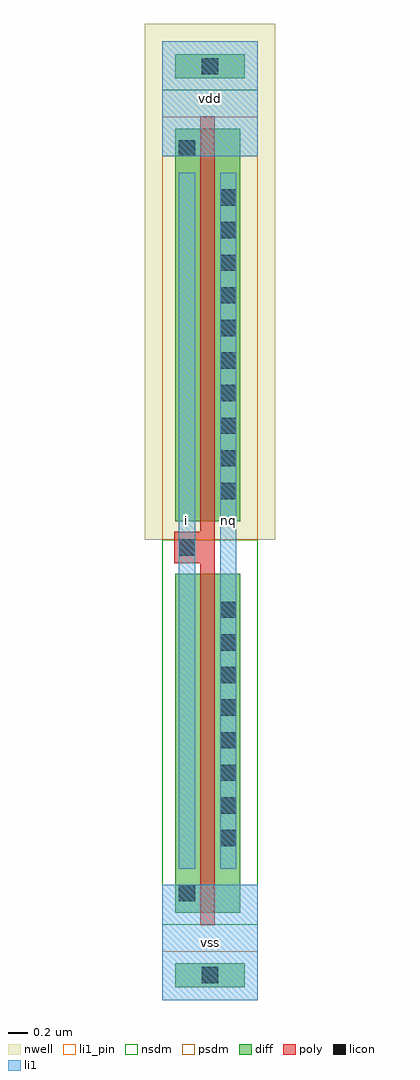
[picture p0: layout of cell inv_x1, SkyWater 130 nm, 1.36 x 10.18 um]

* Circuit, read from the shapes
.subckt inv_x1 i nq vdd vss
XM1 nq i vss VSUBS sky130_fd_pr__nfet_01v8 w=3.535 l=0.15
XM2 nq i vdd n1 sky130_fd_pr__pfet_01v8 w=4.095 l=0.15
.ends

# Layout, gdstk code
import gdstk
lib = gdstk.Library(unit=1e-6, precision=1e-09)
def R(c, l, rs):  # rectangles x0, y0, x1, y1
    for r in rs: c.add(gdstk.rectangle(r[:2], r[2:], *l))
def A(c, l, x, y, w, h, nx, ny, dx, dy):  # array of equal rectangles
    R(c, l, [(x+i*dx, y+j*dy, x+i*dx+w, y+j*dy+h) for i in range(nx) for j in range(ny)])
nwell = (64, 20)
diff = (65, 20)
poly = (66, 20)
licon = (66, 44)
li1_pin = (67, 16)
li1 = (67, 20)
nsdm = (93, 44)
psdm = (94, 20)

inv_x1 = lib.new_cell('inv_x1')
R(inv_x1, nwell, [(-0.18,4.8,1.18,10.18), (-0.045,4.815,0.505,9.27), (-0.045,4.815,0.565,9.27), (-0.03,4.815,0.98,9.27), (0.385,4.815,0.995,9.27), (0.445,4.815,0.995,9.27), (0.385,4.925,0.995,8.755), (-0.045,8.5,0.565,9.27), (-0.045,9.435,1.045,10.045), (0.115,9.435,0.885,10.045)])
R(inv_x1, diff, [(0.135,0.135,0.865,0.385), (0.295,0.135,0.705,0.385), (0.135,0.91,0.385,1.32), (0.135,0.91,0.385,4.445), (0.135,0.91,0.325,4.445), (0.15,0.91,0.8,4.445), (0.565,0.91,0.815,4.445), (0.625,0.91,0.815,4.445), (0.565,1.485,0.815,4.275), (0.135,4.995,0.385,9.09), (0.135,4.995,0.325,9.09), (0.15,4.995,0.8,9.09), (0.565,4.995,0.815,9.09), (0.625,4.995,0.815,9.09), (0.565,5.105,0.815,8.575), (0.135,8.68,0.385,9.09), (0.135,9.615,0.865,9.865), (0.295,9.615,0.705,9.865)])
R(inv_x1, poly, [(0.4,0.78,0.55,4.575), (0.4,0.78,0.55,4.865), (0.125,4.555,0.395,4.885), (0.26,4.555,0.475,4.885), (0.4,4.865,0.55,9.22)])
A(inv_x1, licon, 0.605, 1.605, 0.17, 0.17, 1, 8, 0, 0.34)
A(inv_x1, licon, 0.605, 5.225, 0.17, 0.17, 1, 10, 0, 0.34)
R(inv_x1, licon, [(0.415,0.175,0.585,0.345), (0.175,1.03,0.345,1.2), (0.175,4.635,0.345,4.805), (0.175,8.8,0.345,8.97), (0.415,9.655,0.585,9.825)])
R(inv_x1, li1_pin, [(0,0,1,1.2), (0.175,1.37,0.345,8.63), (0.605,1.37,0.775,8.63), (0,8.8,1,10)])
R(inv_x1, li1, [(0,0,1,1.2), (0.415,0.095,0.585,0.425), (0.095,1.03,0.425,1.2), (0.175,1.37,0.345,8.63), (0.605,1.37,0.775,4.385), (0.605,1.37,0.775,8.63), (0.605,1.525,0.775,4.235), (0.175,4.555,0.345,4.885), (0.605,5.055,0.775,8.63), (0.605,5.145,0.775,8.535), (0,8.8,1,10), (0.095,8.8,0.425,8.97), (0.415,9.575,0.585,9.905)])
R(inv_x1, nsdm, [(0,0.785,1,4.8), (0.01,0.785,0.51,4.57), (0.01,0.785,0.51,1.445), (0.01,0.785,0.45,4.57), (0.025,0.785,0.925,4.57), (0.44,0.785,0.94,4.57), (0.5,0.785,0.94,4.57), (0.33,0.84,0.62,4.515), (0.44,1.36,0.94,4.4), (0,9.49,1,10), (0,9.49,1,9.99), (0.16,9.49,0.84,9.99)])
R(inv_x1, psdm, [(0,0,1,0.51), (0,0.01,1,0.51), (0.16,0.01,0.84,0.51), (0,4.8,1,9.215), (0.01,4.87,0.51,9.215), (0.01,4.87,0.45,9.215), (0.025,4.87,0.925,9.215), (0.44,4.87,0.94,9.215), (0.5,4.87,0.94,9.215), (0.33,4.925,0.62,9.16), (0.44,4.98,0.94,8.7), (0.01,8.555,0.51,9.215)])
inv_x1.add(gdstk.Label('vss', (0.5,0.6), layer=67, texttype=16))
inv_x1.add(gdstk.Label('vdd', (0.5,9.4), layer=67, texttype=16))
inv_x1.add(gdstk.Label('nq', (0.69,5), layer=67, texttype=16))
inv_x1.add(gdstk.Label('i', (0.26,5), layer=67, texttype=16))

lib.write_gds('inv_x1.gds')
